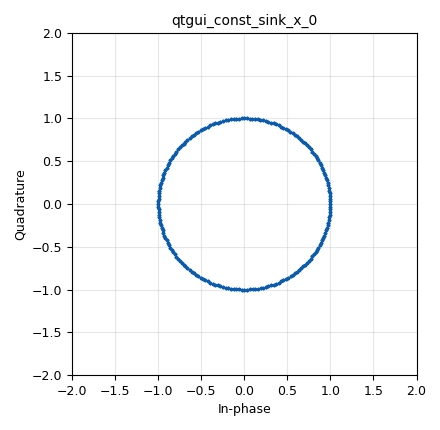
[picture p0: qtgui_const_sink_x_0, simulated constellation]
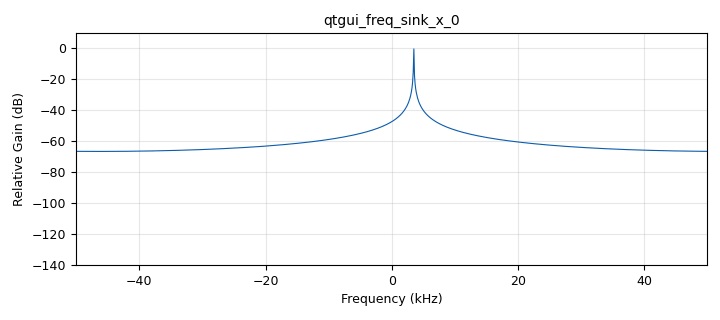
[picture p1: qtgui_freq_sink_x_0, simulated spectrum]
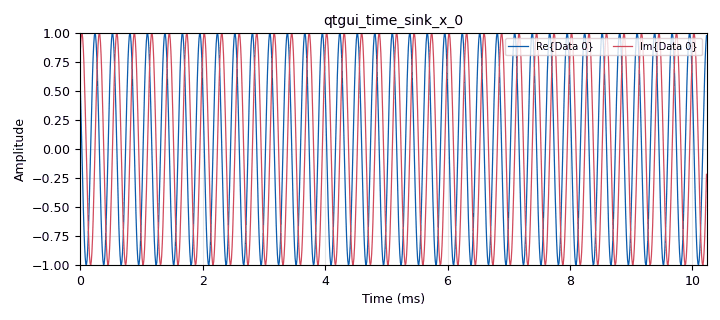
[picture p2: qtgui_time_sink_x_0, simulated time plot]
options:
  parameters:
    author: jason
    generate_options: qt_gui
    id: complexPlotsMultiplyComplexExponentials
    output_language: python
    title: complexPlotsMultiplyComplexExponentials
  states: {}

blocks:
- name: freq1
  id: variable_qtgui_range
  parameters:
    orient: Qt.Horizontal
    start: '-samp_rate'
    step: '1'
    stop: samp_rate
    value: samp_rate/100
  states: {}
- name: freq2
  id: variable_qtgui_range
  parameters:
    orient: Qt.Horizontal
    start: '-samp_rate'
    step: '1'
    stop: samp_rate
    value: samp_rate/40
  states: {}
- name: samp_rate
  id: variable
  parameters:
    value: 100e3
  states: {}
- name: analog_sig_source_x_0
  id: analog_sig_source_x
  parameters:
    amp: '1'
    freq: freq1
    offset: '0'
    phase: '0'
    samp_rate: samp_rate
    type: complex
    waveform: analog.GR_COS_WAVE
  states: {}
- name: analog_sig_source_x_0_0
  id: analog_sig_source_x
  parameters:
    amp: '1'
    freq: freq2
    offset: '0'
    phase: '0'
    samp_rate: samp_rate
    type: complex
    waveform: analog.GR_COS_WAVE
  states: {}
- name: blocks_multiply_xx_0
  id: blocks_multiply_xx
  parameters:
    type: complex
  states: {}
- name: blocks_throttle_0
  id: blocks_throttle
  parameters:
    samples_per_second: samp_rate
    type: complex
  states: {}
- name: qtgui_const_sink_x_0
  id: qtgui_const_sink_x
  parameters:
    size: '1024'
    type: complex
  states: {}
- name: qtgui_freq_sink_x_0
  id: qtgui_freq_sink_x
  parameters:
    bw: samp_rate
    fc: '0'
    fftsize: '1024'
    type: complex
    wintype: firdes.WIN_RECTANGULAR
  states: {}
- name: qtgui_time_sink_x_0
  id: qtgui_time_sink_x
  parameters:
    size: '1024'
    srate: samp_rate
    type: complex
  states: {}
- name: qtgui_waterfall_sink_x_0
  id: qtgui_waterfall_sink_x
  parameters:
    bw: samp_rate
    fc: '0'
    fftsize: '1024'
    type: complex
    wintype: firdes.WIN_BLACKMAN_hARRIS
  states: {state: disabled}

connections:
- [analog_sig_source_x_0, '0', blocks_multiply_xx_0, '0']
- [analog_sig_source_x_0_0, '0', blocks_multiply_xx_0, '1']
- [blocks_multiply_xx_0, '0', blocks_throttle_0, '0']
- [blocks_throttle_0, '0', qtgui_const_sink_x_0, '0']
- [blocks_throttle_0, '0', qtgui_freq_sink_x_0, '0']
- [blocks_throttle_0, '0', qtgui_time_sink_x_0, '0']
- [blocks_throttle_0, '0', qtgui_waterfall_sink_x_0, '0']

metadata:
  file_format: 1
